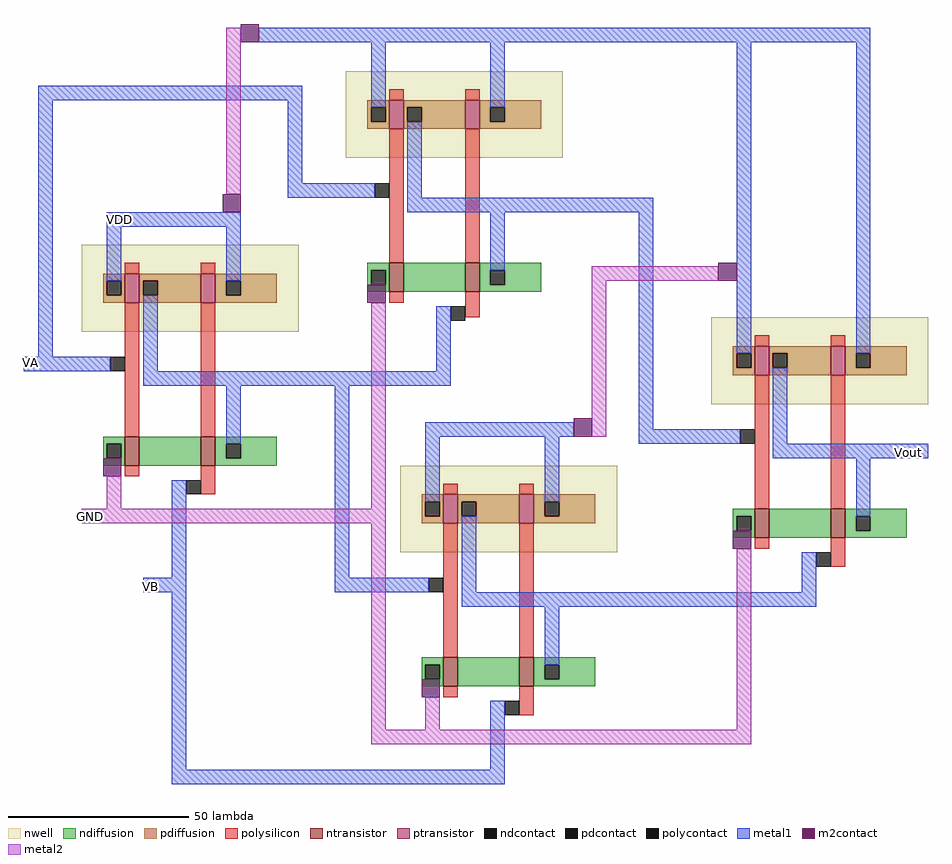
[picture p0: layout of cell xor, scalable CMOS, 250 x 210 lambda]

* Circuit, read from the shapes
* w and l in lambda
.subckt xor GND VA VB VDD Vout
M1 n1 VA GND VSUBS nfet w=8 l=4
M2 n2 VB n1 VSUBS nfet w=8 l=4
M3 n3 VA GND VSUBS nfet w=8 l=4
M4 n4 n2 GND VSUBS nfet w=8 l=4
M5 n5 n2 n3 VSUBS nfet w=8 l=4
M6 n6 VB n4 VSUBS nfet w=8 l=4
M7 n7 n5 GND VSUBS nfet w=8 l=4
M8 Vout n6 n7 VSUBS nfet w=8 l=4
M9 n2 VA VDD n8 pfet w=8 l=4
M10 VDD VB n2 n8 pfet w=8 l=4
M11 n5 VA VDD n9 pfet w=8 l=4
M12 n6 n2 VDD n10 pfet w=8 l=4
M13 VDD n2 n5 n9 pfet w=8 l=4
M14 VDD VB n6 n10 pfet w=8 l=4
M15 Vout n5 VDD n11 pfet w=8 l=4
M16 VDD n6 Vout n11 pfet w=8 l=4
.ends

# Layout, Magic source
magic
tech scmos
<< nwell >>
rect 71 48 131 72
rect -2 0 58 24
rect 172 -20 232 4
rect 86 -61 146 -37
<< ntransistor >>
rect 83 11 87 19
rect 104 11 108 19
rect 10 -37 14 -29
rect 31 -37 35 -29
rect 184 -57 188 -49
rect 205 -57 209 -49
rect 98 -98 102 -90
rect 119 -98 123 -90
<< ptransistor >>
rect 83 56 87 64
rect 104 56 108 64
rect 10 8 14 16
rect 31 8 35 16
rect 184 -12 188 -4
rect 205 -12 209 -4
rect 98 -53 102 -45
rect 119 -53 123 -45
<< ndiffusion >>
rect 77 17 83 19
rect 77 13 78 17
rect 82 13 83 17
rect 77 11 83 13
rect 87 11 104 19
rect 108 17 125 19
rect 108 13 111 17
rect 115 13 125 17
rect 108 11 125 13
rect 4 -31 10 -29
rect 4 -35 5 -31
rect 9 -35 10 -31
rect 4 -37 10 -35
rect 14 -37 31 -29
rect 35 -31 52 -29
rect 35 -35 38 -31
rect 42 -35 52 -31
rect 35 -37 52 -35
rect 178 -51 184 -49
rect 178 -55 179 -51
rect 183 -55 184 -51
rect 178 -57 184 -55
rect 188 -57 205 -49
rect 209 -51 226 -49
rect 209 -55 212 -51
rect 216 -55 226 -51
rect 209 -57 226 -55
rect 92 -92 98 -90
rect 92 -96 93 -92
rect 97 -96 98 -92
rect 92 -98 98 -96
rect 102 -98 119 -90
rect 123 -92 140 -90
rect 123 -96 126 -92
rect 130 -96 140 -92
rect 123 -98 140 -96
<< pdiffusion >>
rect 77 62 83 64
rect 77 58 78 62
rect 82 58 83 62
rect 77 56 83 58
rect 87 62 104 64
rect 87 58 88 62
rect 92 58 104 62
rect 87 56 104 58
rect 108 62 125 64
rect 108 58 111 62
rect 115 58 125 62
rect 108 56 125 58
rect 4 14 10 16
rect 4 10 5 14
rect 9 10 10 14
rect 4 8 10 10
rect 14 14 31 16
rect 14 10 15 14
rect 19 10 31 14
rect 14 8 31 10
rect 35 14 52 16
rect 35 10 38 14
rect 42 10 52 14
rect 35 8 52 10
rect 178 -6 184 -4
rect 178 -10 179 -6
rect 183 -10 184 -6
rect 178 -12 184 -10
rect 188 -6 205 -4
rect 188 -10 189 -6
rect 193 -10 205 -6
rect 188 -12 205 -10
rect 209 -6 226 -4
rect 209 -10 212 -6
rect 216 -10 226 -6
rect 209 -12 226 -10
rect 92 -47 98 -45
rect 92 -51 93 -47
rect 97 -51 98 -47
rect 92 -53 98 -51
rect 102 -47 119 -45
rect 102 -51 103 -47
rect 107 -51 119 -47
rect 102 -53 119 -51
rect 123 -47 140 -45
rect 123 -51 126 -47
rect 130 -51 140 -47
rect 123 -53 140 -51
<< ndcontact >>
rect 78 13 82 17
rect 111 13 115 17
rect 5 -35 9 -31
rect 38 -35 42 -31
rect 179 -55 183 -51
rect 212 -55 216 -51
rect 93 -96 97 -92
rect 126 -96 130 -92
<< pdcontact >>
rect 78 58 82 62
rect 88 58 92 62
rect 111 58 115 62
rect 5 10 9 14
rect 15 10 19 14
rect 38 10 42 14
rect 179 -10 183 -6
rect 189 -10 193 -6
rect 212 -10 216 -6
rect 93 -51 97 -47
rect 103 -51 107 -47
rect 126 -51 130 -47
<< polysilicon >>
rect 83 64 87 67
rect 104 64 108 67
rect 83 19 87 56
rect 104 19 108 56
rect 10 16 14 19
rect 31 16 35 19
rect 83 8 87 11
rect 10 -29 14 8
rect 31 -29 35 8
rect 104 4 108 11
rect 184 -4 188 -1
rect 205 -4 209 -1
rect 10 -40 14 -37
rect 31 -45 35 -37
rect 98 -45 102 -42
rect 119 -45 123 -42
rect 184 -49 188 -12
rect 205 -49 209 -12
rect 98 -90 102 -53
rect 119 -90 123 -53
rect 184 -60 188 -57
rect 205 -65 209 -57
rect 98 -101 102 -98
rect 119 -106 123 -98
<< polycontact >>
rect 79 37 83 41
rect 6 -11 10 -7
rect 100 3 104 7
rect 180 -31 184 -27
rect 27 -45 31 -41
rect 94 -72 98 -68
rect 201 -65 205 -61
rect 115 -106 119 -102
<< metal1 >>
rect 47 80 216 84
rect -14 64 59 68
rect -14 -7 -10 64
rect 55 41 59 64
rect 78 62 82 80
rect 111 62 115 80
rect 55 37 79 41
rect 88 37 92 58
rect 88 33 156 37
rect 5 29 42 33
rect 5 14 9 29
rect 38 14 42 29
rect 111 17 115 33
rect -18 -11 6 -7
rect 15 -11 19 10
rect 96 -11 100 7
rect 15 -15 100 -11
rect 38 -31 42 -15
rect 23 -68 27 -41
rect 15 -72 27 -68
rect 68 -68 72 -15
rect 93 -29 134 -25
rect 152 -27 156 33
rect 179 -6 183 80
rect 212 -6 216 80
rect 93 -47 97 -29
rect 126 -47 130 -29
rect 152 -31 180 -27
rect 189 -31 193 -10
rect 189 -35 232 -31
rect 212 -51 216 -35
rect 68 -72 94 -68
rect 103 -72 107 -51
rect 197 -72 201 -61
rect 23 -121 27 -72
rect 103 -76 201 -72
rect 126 -92 130 -76
rect 111 -121 115 -102
rect 23 -125 115 -121
<< m2contact >>
rect 42 80 47 85
rect 37 33 42 38
rect 77 8 82 13
rect 4 -40 9 -35
rect 134 -29 139 -24
rect 174 14 179 19
rect 178 -60 183 -55
rect 92 -101 97 -96
<< metal2 >>
rect 38 38 42 84
rect 139 14 174 18
rect 5 -49 9 -40
rect 78 -49 82 8
rect 139 -29 143 14
rect -2 -53 82 -49
rect 78 -110 82 -53
rect 93 -110 97 -101
rect 179 -110 183 -60
rect 78 -114 183 -110
<< labels >>
rlabel metal1 225 -34 228 -33 1 Vout
rlabel metal1 16 -71 18 -70 1 VB
rlabel metal1 -17 -9 -15 -8 3 VA
rlabel metal2 -1 -52 2 -50 1 GND
rlabel metal1 6 30 11 32 1 VDD
<< end >>
